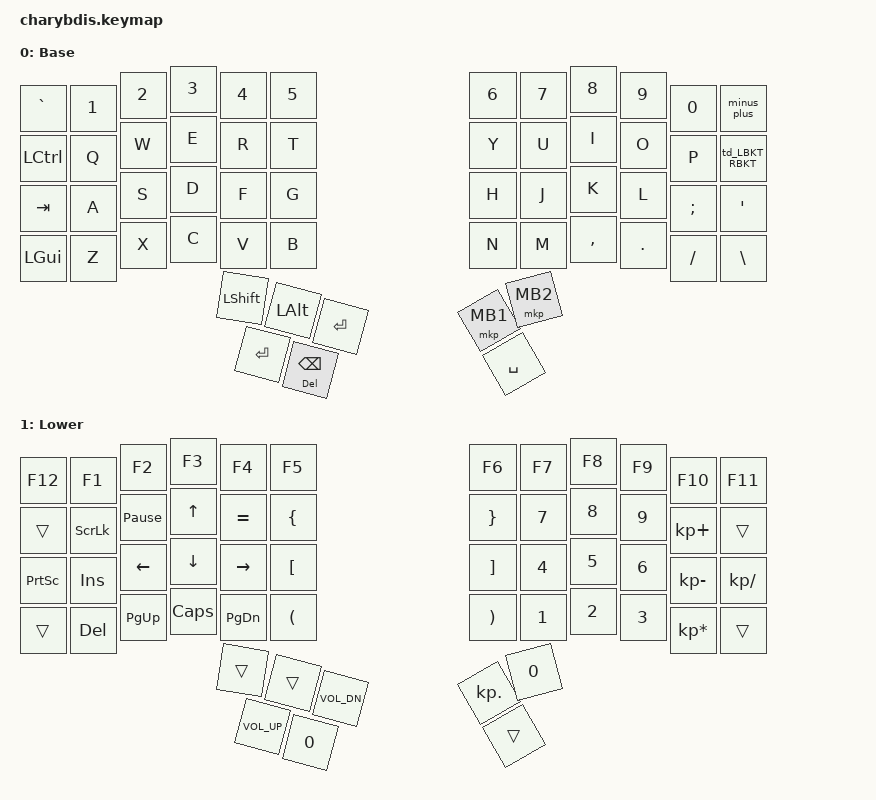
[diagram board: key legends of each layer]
#include <behaviors.dtsi>
#include <dt-bindings/zmk/keys.h>
#include <dt-bindings/zmk/pointing.h>
#include <dt-bindings/zmk/mouse.h>

#define BASE 0
#define LOWER 1

&sk {
  release-after-ms = <600>;
  quick-release;
};

&sl {
  ignore-modifiers;
};

&mt {
  quick-tap-ms = <200>;
  flavor = "tap-preferred";
  tapping-term-ms = <170>;
};

&lt {
  quick-tap-ms = <200>;
  flavor = "tap-preferred";
  tapping-term-ms = <170>;
};

// Настройка трекбола под 2 слоя[cite: 2, 4]
&trackball_listener {
    /delete-node/ snipe; // Полностью удаляем снайперский режим, чтобы не смущать компилятор
    scroll {
        layers = <LOWER>;
    };
    move {
        layers = <BASE LOWER>;
        /delete-property/ input-processors; 
    };
    
};

/ {
    combos {
        compatible = "zmk,combos";
        
        combo_esc {
            key-positions = <0 1>;
            bindings = <&kp ESC>;
        };
        
        mouse_scroll {
            key-positions = <53 54>; 
            bindings = <&mo LOWER>;
        };
    };

    behaviors {
        td_LBKT_RBKT: tap_dance_LBKT_RBKT {
            compatible = "zmk,behavior-tap-dance";
            label = "TAP_DANCE_LBKT_RBKT";
            tapping-term-ms = <210>;
            #binding-cells = <0>;
            bindings = <&kp LBKT>, <&kp RBKT>;
        };
        minus_plus: minus_plus {
            compatible = "zmk,behavior-tap-dance";
            label = "MINUS_PLUS";
            #binding-cells = <0>;
            bindings = <&kp MINUS>, <&kp EQUAL>;
        };
        shift_capsword: shift_capsword {
            compatible = "zmk,behavior-tap-dance";
            label = "SHIFT_CAPSWORD";
            #binding-cells = <0>;
            bindings = <&kp LSHFT>, <&caps_word>;
        };
        ht: hold_tap {
            compatible = "zmk,behavior-hold-tap";
            label = "HOLD_TAP";
            #binding-cells = <2>;
            flavor = "tap-preferred";
            tapping-term-ms = <200>;
            quick-tap-ms = <200>;
            bindings = <&kp>, <&kp>;
        };
    };

    chosen {
        zmk,physical-layout = &charybdis_6col_layout;
    };

    keymap {
        compatible = "zmk,keymap";

        Base {
            label = "Base";
            display-name = "Base";
            bindings = <
// ╭─────────────┬─────────────┬─────────────┬─────────────┬─────────────┬─────────────╮   ╭─────────────┬─────────────┬─────────────┬─────────────┬─────────────┬─────────────────╮
     &kp GRAVE      &kp N1        &kp N2        &kp N3        &kp N4        &kp N5            &kp N6        &kp N7        &kp N8        &kp N9        &kp N0         &minus_plus
// ├─────────────┼─────────────┼─────────────┼─────────────┼─────────────┼─────────────┤   ├─────────────┼─────────────┼─────────────┼─────────────┼─────────────┼─────────────────┤
     &kp LCTRL      &kp Q         &kp W         &kp E         &kp R         &kp T             &kp Y         &kp U         &kp I         &kp O         &kp P          &td_LBKT_RBKT
// ├─────────────┼─────────────┼─────────────┼─────────────┼─────────────┼─────────────┤   ├─────────────┼─────────────┼─────────────┼─────────────┼─────────────┼─────────────────┤
     &kp TAB        &kp A         &kp S         &kp D         &kp F         &kp G             &kp H         &kp J         &kp K         &kp L         &kp SEMI       &kp APOS
// ├─────────────┼─────────────┼─────────────┼─────────────┼─────────────┼─────────────┤   ├─────────────┼─────────────┼─────────────┼─────────────┼─────────────┼─────────────────┤
     &kp LGUI       &kp Z         &kp X         &kp C         &kp V         &kp B             &kp N         &kp M         &kp COMMA     &kp DOT       &kp FSLH       &kp BACKSLASH
// ╰─────────────┴─────────────┼─────────────┼─────────────┼─────────────┼─────────────┤   ├─────────────┼─────────────┼─────────────┼─────────────┼─────────────┴─────────────────╯
                                                &kp LSHIFT    &kp LALT      &kp ENTER         &kp ENTER     &ht DEL BSPC
                                                              &mkp MB1      &mkp MB2          &kp SPACE
//                                           ╰─────────────────────────────────────────╯   ╰─────────────────────────────────────────╯
            >;
        };

        Lower {
            label = "Lower";
            display-name = "Lower";
            bindings = <
// ╭─────────────┬─────────────┬─────────────┬─────────────┬─────────────┬─────────────╮   ╭─────────────┬─────────────┬─────────────┬─────────────┬─────────────┬─────────────────╮
     &kp F12        &kp F1        &kp F2        &kp F3        &kp F4        &kp F5            &kp F6        &kp F7        &kp F8        &kp F9        &kp F10        &kp F11
// ├─────────────┼─────────────┼─────────────┼─────────────┼─────────────┼─────────────┤   ├─────────────┼─────────────┼─────────────┼─────────────┼─────────────┼─────────────────┤
     &trans         &kp SLCK      &kp PAUSE_BREAK &kp UP      &kp EQUAL     &kp LBRC          &kp RBRC      &kp N7        &kp N8        &kp N9        &kp KP_PLUS    &trans
// ├─────────────┼─────────────┼─────────────┼─────────────┼─────────────┼─────────────┤   ├─────────────┼─────────────┼─────────────┼─────────────┼─────────────┼─────────────────┤
     &kp PSCRN      &kp INS       &kp LEFT      &kp DOWN      &kp RIGHT     &kp LBKT          &kp RBKT      &kp N4        &kp N5        &kp N6        &kp KP_MINUS   &kp KP_DIVIDE
// ├─────────────┼─────────────┼─────────────┼─────────────┼─────────────┼─────────────┤   ├─────────────┼─────────────┼─────────────┼─────────────┼─────────────┼─────────────────┤
     &trans         &kp DEL       &kp PG_UP     &kp CAPS      &kp PG_DN     &kp LPAR          &kp RPAR      &kp N1        &kp N2        &kp N3        &kp KP_MULTIPLY &trans
// ╰─────────────┴─────────────┼─────────────┼─────────────┼─────────────┼─────────────┤   ├─────────────┼─────────────┼─────────────┼─────────────┼─────────────┴─────────────────╯
                                 &trans        &trans        &kp C_VOL_DN                    &kp C_VOL_UP  &kp N0
                                               &kp KP_DOT    &kp N0                          &trans
            >;
        };
    };
};
